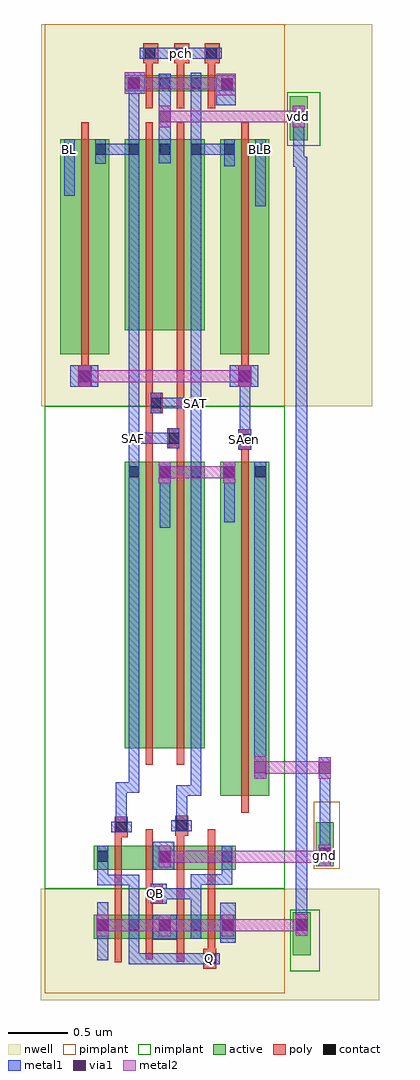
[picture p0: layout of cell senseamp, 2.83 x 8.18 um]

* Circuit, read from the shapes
.subckt senseamp BL BLB Q QB SAF SAT SAen gnd pch vdd
M1 n1 SAF Q gnd nfet w=0.2u l=0.06u
M2 gnd QB n1 gnd nfet w=0.2u l=0.06u
M3 n2 SAT SAF gnd nfet w=2.4u l=0.06u
M4 n3 SAT gnd gnd nfet w=0.2u l=0.06u
M5 SAT SAF n2 gnd nfet w=2.4u l=0.06u
M6 QB Q n3 gnd nfet w=0.2u l=0.06u
M7 gnd SAen n2 gnd nfet w=2.8u l=0.06u
M8 SAF SAen BL vdd pfet w=1.8u l=0.06u
M9 Q SAF vdd vdd pfet w=0.2u l=0.06u
M10 vdd QB Q vdd pfet w=0.2u l=0.06u
M11 vdd SAT SAF vdd pfet w=1.6u l=0.06u
M12 vdd pch SAF vdd pfet w=0.135u l=0.06u
M13 QB SAT vdd vdd pfet w=0.2u l=0.06u
M14 SAT SAF vdd vdd pfet w=1.6u l=0.06u
M15 SAT pch vdd vdd pfet w=0.135u l=0.06u
M16 vdd Q QB vdd pfet w=0.2u l=0.06u
M17 SAF pch SAT vdd pfet w=0.135u l=0.06u
M18 BLB SAen SAT vdd pfet w=1.8u l=0.06u
.ends

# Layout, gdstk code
import gdstk
lib = gdstk.Library(unit=1e-6, precision=1e-09)
def R(c, l, rs):  # rectangles x0, y0, x1, y1
    for r in rs: c.add(gdstk.rectangle(r[:2], r[2:], *l))
nwell = (3, 0)
active = (6, 0)
poly = (17, 0)
pimplant = (25, 0)
nimplant = (26, 0)
contact = (30, 0)
metal1 = (31, 0)
metal2 = (32, 0)
via1 = (51, 0)

pc_ct = lib.new_cell('pc_ct')
R(pc_ct, contact, [(0,0,0.09,0.09)])

m2x_m1_cdns_775670307680 = lib.new_cell('M2X_M1_CDNS_775670307680')
R(m2x_m1_cdns_775670307680, metal1, [(-0.05,-0.09,0.05,0.09)])
R(m2x_m1_cdns_775670307680, metal2, [(-0.05,-0.09,0.05,0.09)])
R(m2x_m1_cdns_775670307680, via1, [(-0.05,-0.05,0.05,0.05)])

senseamp = lib.new_cell('senseamp')
R(senseamp, nwell, [(2.085,-10.06,4.92,-9.13), (2.09,-5.085,4.86,-1.885)])
R(senseamp, active, [(4.195,-9.685,4.345,-9.325), (2.53,-9.545,3.72,-9.345), (2.53,-8.97,3.72,-8.77), (4.39,-8.94,4.54,-8.57), (3.59,-8.35,4,-5.55), (2.79,-7.95,3.46,-5.55), (2.25,-4.65,2.66,-2.85), (3.59,-4.65,4,-2.85), (2.79,-4.45,3.46,-2.85), (4.17,-2.86,4.32,-2.49), (2.79,-2.45,3.72,-2.315)])
R(senseamp, poly, [(3.445,-9.8,3.555,-9.63), (3.485,-9.76,3.545,-8.63), (2.705,-9.745,2.765,-8.565), (3.225,-9.74,3.285,-8.555), (2.965,-9.72,3.025,-8.63), (2.965,-9.255,3.105,-9.085), (2.705,-8.695,2.815,-8.525), (3.21,-8.685,3.32,-8.515), (3.765,-8.49,3.825,-5.32), (2.965,-8.09,3.025,-2.71), (3.225,-8.09,3.285,-2.71), (3.74,-5.45,3.85,-5.28), (3.145,-5.44,3.285,-5.27), (2.965,-5.145,3.105,-4.975), (2.4,-4.925,2.51,-4.745), (3.74,-4.92,3.85,-4.745), (2.425,-4.88,2.485,-2.71), (3.765,-4.88,3.825,-2.71), (2.965,-2.59,3.025,-2.08), (3.225,-2.59,3.285,-2.095), (3.485,-2.59,3.545,-2.095), (2.945,-2.215,3.07,-2.045), (3.205,-2.215,3.33,-2.045), (3.46,-2.215,3.585,-2.045)])
R(senseamp, pimplant, [(2.12,-10.005,4.13,-9.13), (4.37,-8.96,4.59,-8.4), (2.12,-5.085,4.13,-1.885)])
R(senseamp, nimplant, [(4.175,-9.82,4.42,-9.305), (2.12,-9.13,4.13,-5.085), (4.15,-2.905,4.425,-2.455)])
R(senseamp, contact, [(3.455,-9.76,3.545,-9.67), (4.225,-9.475,4.315,-9.385), (3.005,-9.215,3.095,-9.125), (4.42,-8.875,4.51,-8.785), (2.715,-8.655,2.805,-8.565), (3.22,-8.645,3.31,-8.555), (3.75,-5.41,3.84,-5.32), (3.155,-5.4,3.245,-5.31), (3.005,-5.105,3.095,-5.015), (2.41,-4.88,2.5,-4.79), (3.75,-4.88,3.84,-4.79), (4.2,-2.705,4.29,-2.615), (2.955,-2.175,3.045,-2.085), (3.215,-2.175,3.305,-2.085), (3.47,-2.175,3.56,-2.085)])
R(senseamp, metal1, [(2.82,-9.76,3.585,-9.67), (2.82,-9.76,2.91,-9.01), (3.455,-9.76,3.545,-9.67), (2.56,-9.725,2.65,-9.24), (3.59,-9.58,3.72,-9.245), (3.025,-9.555,3.225,-9.345), (3.34,-9.545,3.43,-9.005), (2.555,-9.525,2.655,-9.345), (3.075,-9.525,3.175,-9.345), (3.6,-9.525,3.7,-9.345), (4.22,-9.52,4.32,-9.34), (4.225,-9.515,4.315,-9.345), (4.22,-9.475,4.315,-2.995), (3.005,-9.255,3.14,-9.085), (3.005,-9.215,3.43,-9.125), (3.005,-9.215,3.095,-9.125), (2.56,-9.1,2.91,-9.01), (2.56,-9.1,2.65,-8.77), (3.34,-9.095,3.69,-9.005), (3.6,-9.095,3.69,-8.77), (3.025,-8.97,3.205,-8.735), (4.42,-8.94,4.51,-8.625), (4.42,-8.875,4.51,-8.115), (2.675,-8.655,2.845,-8.565), (2.715,-8.655,2.805,-8.235), (3.18,-8.645,3.35,-8.555), (3.22,-8.645,3.31,-8.26), (3.22,-8.35,3.43,-8.26), (3.34,-8.35,3.43,-2.295), (2.715,-8.325,2.91,-8.235), (2.82,-8.325,2.91,-2.29), (3.875,-8.205,3.975,-8.02), (3.875,-8.205,3.975,-5.55), (4.415,-8.205,4.515,-8.025), (3.08,-6.105,3.17,-5.55), (3.62,-6.06,3.71,-5.55), (3.075,-5.73,3.175,-5.55), (3.615,-5.73,3.715,-5.55), (3.74,-5.45,3.85,-5.28), (3.155,-5.44,3.245,-5.27), (3.75,-5.41,3.84,-4.79), (3.75,-5.41,3.84,-5.32), (2.82,-5.4,3.245,-5.31), (2.82,-5.4,2.91,-5.31), (3.005,-5.145,3.095,-4.975), (3.005,-5.105,3.43,-5.015), (3.34,-5.105,3.43,-5.015), (2.33,-4.925,2.565,-4.745), (2.405,-4.925,2.505,-4.745), (3.67,-4.925,3.905,-4.745), (3.745,-4.925,3.845,-4.745), (3.88,-3.41,3.97,-2.85), (2.28,-3.325,2.37,-2.85), (4.2,-3.08,4.315,-2.995), (4.2,-3.08,4.29,-2.615), (3.62,-3.075,3.71,-2.85), (2.54,-3.055,2.63,-2.85), (3.075,-3.05,3.175,-2.3), (2.28,-2.98,2.37,-2.89), (2.54,-2.98,2.91,-2.89), (3.34,-2.98,3.71,-2.89), (3.88,-2.98,3.97,-2.89), (3.075,-2.75,3.175,-2.57), (4.195,-2.75,4.295,-2.57), (4.2,-2.745,4.29,-2.575), (3.555,-2.565,3.72,-2.3), (3.555,-2.48,3.72,-2.3), (2.79,-2.47,2.955,-2.29), (2.915,-2.175,3.085,-2.085), (2.955,-2.175,3.56,-2.085), (3.175,-2.175,3.345,-2.085), (3.215,-2.175,3.305,-2.085), (3.43,-2.175,3.6,-2.085)])
R(senseamp, metal2, [(2.555,-9.525,2.655,-9.345), (3.075,-9.525,3.175,-9.345), (3.6,-9.525,3.7,-9.345), (4.22,-9.52,4.32,-9.34), (2.555,-9.485,4.32,-9.385), (3.075,-8.91,4.515,-8.81), (4.415,-8.9,4.515,-8.8), (3.875,-8.205,3.975,-8.02), (4.415,-8.205,4.515,-8.025), (3.875,-8.165,4.515,-8.06), (3.075,-5.73,3.175,-5.55), (3.615,-5.73,3.715,-5.55), (3.075,-5.69,3.715,-5.59), (2.405,-4.925,2.505,-4.745), (3.745,-4.925,3.845,-4.745), (2.405,-4.885,3.845,-4.785), (3.075,-2.75,3.175,-2.57), (4.195,-2.75,4.295,-2.57), (3.075,-2.71,4.295,-2.61), (4.195,-2.71,4.295,-2.61), (3.555,-2.48,3.72,-2.3), (2.79,-2.47,2.955,-2.29), (2.815,-2.43,3.695,-2.33)])
R(senseamp, via1, [(2.555,-9.485,2.655,-9.385), (3.075,-9.485,3.175,-9.385), (3.6,-9.485,3.7,-9.385), (4.22,-9.48,4.32,-9.38), (4.415,-8.165,4.515,-8.065), (3.875,-8.16,3.975,-8.06), (3.075,-5.69,3.175,-5.59), (3.615,-5.69,3.715,-5.59), (2.405,-4.885,2.505,-4.785), (3.745,-4.885,3.845,-4.785), (3.075,-2.71,3.175,-2.61), (4.195,-2.71,4.295,-2.61), (3.595,-2.44,3.695,-2.34), (2.815,-2.43,2.915,-2.33)])
senseamp.add(gdstk.Reference(pc_ct, (3.88,-5.68)))
senseamp.add(gdstk.Reference(pc_ct, (3.88,-2.98)))
senseamp.add(gdstk.Reference(pc_ct, (3.62,-5.68)))
senseamp.add(gdstk.Reference(pc_ct, (3.62,-2.98)))
senseamp.add(gdstk.Reference(pc_ct, (3.6,-9.475)))
senseamp.add(gdstk.Reference(pc_ct, (3.6,-8.9)))
senseamp.add(gdstk.Reference(pc_ct, (3.6,-2.435)))
senseamp.add(gdstk.Reference(pc_ct, (3.34,-9.475)))
senseamp.add(gdstk.Reference(pc_ct, (3.34,-5.68)))
senseamp.add(gdstk.Reference(pc_ct, (3.34,-2.98)))
senseamp.add(gdstk.Reference(pc_ct, (3.34,-2.425)))
senseamp.add(gdstk.Reference(pc_ct, (3.08,-9.475)))
senseamp.add(gdstk.Reference(pc_ct, (3.08,-8.9)))
senseamp.add(gdstk.Reference(pc_ct, (3.08,-5.68)))
senseamp.add(gdstk.Reference(pc_ct, (3.08,-2.98)))
senseamp.add(gdstk.Reference(pc_ct, (3.08,-2.43)))
senseamp.add(gdstk.Reference(pc_ct, (2.82,-2.425)))
senseamp.add(gdstk.Reference(pc_ct, (2.82,-9.475)))
senseamp.add(gdstk.Reference(pc_ct, (2.82,-5.68)))
senseamp.add(gdstk.Reference(pc_ct, (2.82,-2.98)))
senseamp.add(gdstk.Reference(pc_ct, (2.56,-9.475)))
senseamp.add(gdstk.Reference(pc_ct, (2.56,-8.9)))
senseamp.add(gdstk.Reference(pc_ct, (2.54,-2.98)))
senseamp.add(gdstk.Reference(pc_ct, (2.28,-2.98)))
senseamp.add(gdstk.Reference(m2x_m1_cdns_775670307680, (4.465,-8.85)))
senseamp.add(gdstk.Reference(m2x_m1_cdns_775670307680, (3.125,-8.86)))
senseamp.add(gdstk.Label('gnd', (4.465,-8.85), layer=132, texttype=0))
senseamp.add(gdstk.Label('vdd', (4.245,-2.66), layer=132, texttype=0))
senseamp.add(gdstk.Label('SAen', (3.795,-5.365), layer=131, texttype=0))
senseamp.add(gdstk.Label('SAF', (2.865,-5.355), layer=131, texttype=0))
senseamp.add(gdstk.Label('SAT', (3.385,-5.06), layer=131, texttype=0))
senseamp.add(gdstk.Label('BL', (2.325,-2.935), layer=131, texttype=0))
senseamp.add(gdstk.Label('BLB', (3.925,-2.935), layer=131, texttype=0))
senseamp.add(gdstk.Label('pch', (3.26,-2.13), layer=131, texttype=0))
senseamp.add(gdstk.Label('QB', (3.05,-9.17), layer=131, texttype=0))
senseamp.add(gdstk.Label('Q', (3.5,-9.715), layer=131, texttype=0))

lib.write_gds('senseamp.gds')
